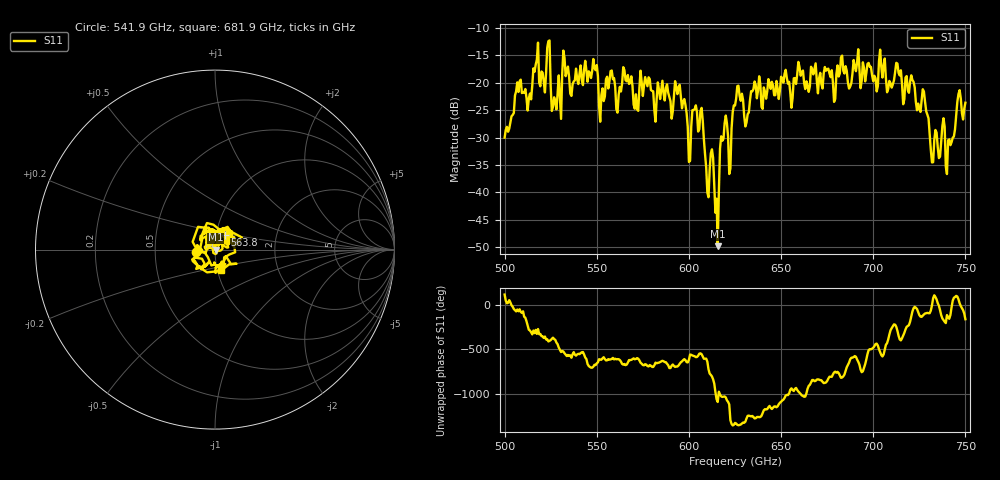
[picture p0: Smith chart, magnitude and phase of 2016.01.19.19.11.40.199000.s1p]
!Created with skrf (http://scikit-rf.org).
# GHz S RI R 50.0
!freq ReS11 ImS11
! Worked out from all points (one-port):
!   401 points, 500 GHz to 750 GHz, reference 50 ohm
!   lowest |S11| = -49.8 dB at 615.6 GHz (marker M1), VSWR 1.01, Z = 50.3 - j0.0578 ohm
!   |S11| at or under -10 dB: start of sweep to end of sweep
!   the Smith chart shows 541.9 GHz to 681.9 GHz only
!   S11 on the Smith chart (normalised r, x): 541.9 GHz: 0.81, -0.02; 563.8 GHz: 1.10, +0.18; 681.9 GHz: 1.04, -0.25
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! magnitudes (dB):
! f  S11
! 500 GHz  -30.0
! 513.8 GHz  -22.0
! 516.9 GHz  -16.7
! 523.8 GHz  -12.4
! 526.9 GHz  -22.7
! 531.2 GHz  -18.4
! 541.9 GHz  -19.5
! 562.5 GHz  -20.8
! 563.8 GHz  -20.1
! 571.2 GHz  -22.1
! 593.8 GHz  -22.1
! 600 GHz  -34.5
! 606.9 GHz  -24.6
! 610 GHz  -40.0
! 612.5 GHz  -32.1
! 615.6 GHz  -49.8
! 618.8 GHz  -30.2
! 622.5 GHz  -35.7
! 625 GHz  -24.2
! 656.2 GHz  -22.8
! 681.9 GHz  -18.3
! 687.5 GHz  -20.7
! 718.8 GHz  -21.3
! 728.1 GHz  -23.5
! 731.9 GHz  -34.5
! 740.6 GHz  -30.5
! 746.2 GHz  -22.1
! 750 GHz  -23.7
